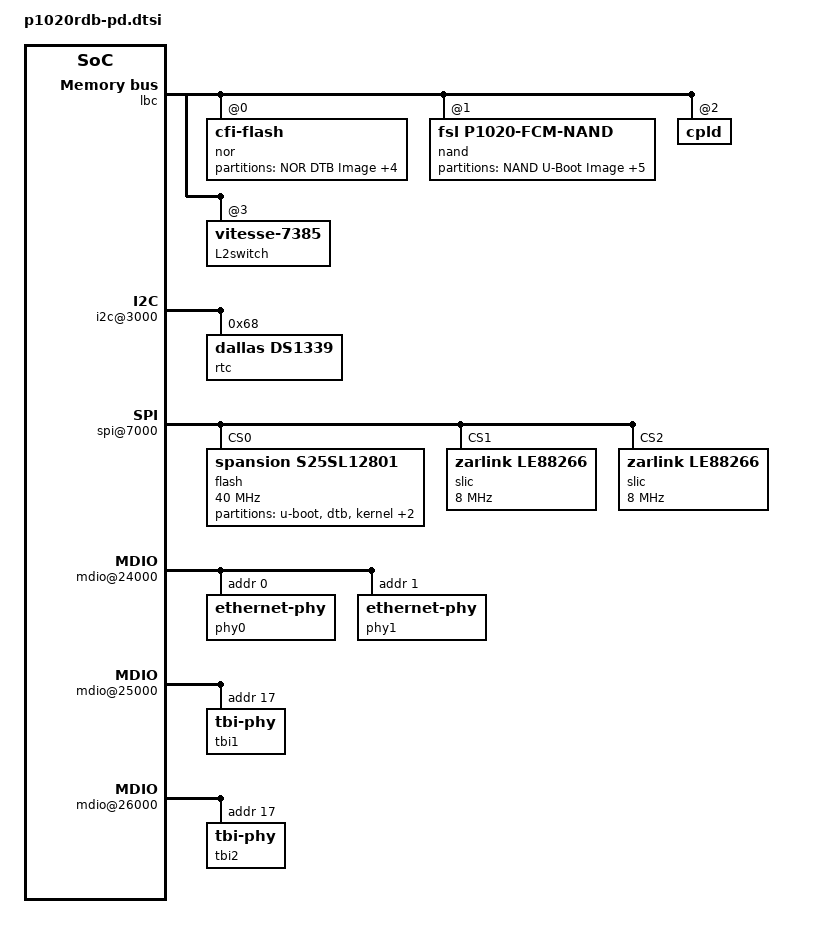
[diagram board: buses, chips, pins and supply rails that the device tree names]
/*
 * P1020RDB-PD Device Tree Source stub (no addresses or top-level ranges)
 *
 * Copyright 2013 Freescale Semiconductor Inc.
 *
 * Redistribution and use in source and binary forms, with or without
 * modification, are permitted provided that the following conditions are met:
 *     * Redistributions of source code must retain the above copyright
 *       notice, this list of conditions and the following disclaimer.
 *     * Redistributions in binary form must reproduce the above copyright
 *       notice, this list of conditions and the following disclaimer in the
 *       documentation and/or other materials provided with the distribution.
 *     * Neither the name of Freescale Semiconductor nor the
 *       names of its contributors may be used to endorse or promote products
 *       derived from this software without specific prior written permission.
 *
 *
 * ALTERNATIVELY, this software may be distributed under the terms of the
 * GNU General Public License ("GPL") as published by the Free Software
 * Foundation, either version 2 of that License or (at your option) any
 * later version.
 *
 * THIS SOFTWARE IS PROVIDED BY Freescale Semiconductor ``AS IS'' AND ANY
 * EXPRESS OR IMPLIED WARRANTIES, INCLUDING, BUT NOT LIMITED TO, THE IMPLIED
 * WARRANTIES OF MERCHANTABILITY AND FITNESS FOR A PARTICULAR PURPOSE ARE
 * DISCLAIMED. IN NO EVENT SHALL Freescale Semiconductor BE LIABLE FOR ANY
 * DIRECT, INDIRECT, INCIDENTAL, SPECIAL, EXEMPLARY, OR CONSEQUENTIAL DAMAGES
 * (INCLUDING, BUT NOT LIMITED TO, PROCUREMENT OF SUBSTITUTE GOODS OR SERVICES;
 * LOSS OF USE, DATA, OR PROFITS; OR BUSINESS INTERRUPTION) HOWEVER CAUSED AND
 * ON ANY THEORY OF LIABILITY, WHETHER IN CONTRACT, STRICT LIABILITY, OR TORT
 * (INCLUDING NEGLIGENCE OR OTHERWISE) ARISING IN ANY WAY OUT OF THE USE OF THIS
 * SOFTWARE, EVEN IF ADVISED OF THE POSSIBILITY OF SUCH DAMAGE.
 */

&lbc {
	nor@0,0 {
		#address-cells = <1>;
		#size-cells = <1>;
		compatible = "cfi-flash";
		reg = <0x0 0x0 0x4000000>;
		bank-width = <2>;
		device-width = <1>;

		partition@0 {
			/* 128KB for DTB Image */
			reg = <0x0 0x00020000>;
			label = "NOR DTB Image";
		};

		partition@20000 {
			/* 3.875 MB for Linux Kernel Image */
			reg = <0x00020000 0x003e0000>;
			label = "NOR Linux Kernel Image";
		};

		partition@400000 {
			/* 58MB for Root file System */
			reg = <0x00400000 0x03a00000>;
			label = "NOR Root File System";
		};

		partition@3e00000 {
			/* This location must not be altered  */
			/* 1M for Vitesse 7385 Switch firmware */
			reg = <0x3e00000 0x00100000>;
			label = "NOR Vitesse-7385 Firmware";
			read-only;
		};

		partition@3f00000 {
			/* This location must not be altered  */
			/* 512KB for u-boot Bootloader Image */
			/* 512KB for u-boot Environment Variables */
			reg = <0x03f00000 0x00100000>;
			label = "NOR U-Boot Image";
			read-only;
		};
	};

	nand@1,0 {
		#address-cells = <1>;
		#size-cells = <1>;
		compatible = "fsl,p1020-fcm-nand",
			     "fsl,elbc-fcm-nand";
		reg = <0x1 0x0 0x40000>;

		partition@0 {
			/* This location must not be altered  */
			/* 1MB for u-boot Bootloader Image */
			reg = <0x0 0x00100000>;
			label = "NAND U-Boot Image";
			read-only;
		};

		partition@100000 {
			/* 1MB for DTB Image */
			reg = <0x00100000 0x00100000>;
			label = "NAND DTB Image";
		};

		partition@200000 {
			/* 4MB for Linux Kernel Image */
			reg = <0x00200000 0x00400000>;
			label = "NAND Linux Kernel Image";
		};

		partition@600000 {
			/* 4MB for Compressed Root file System Image */
			reg = <0x00600000 0x00400000>;
			label = "NAND Compressed RFS Image";
		};

		partition@a00000 {
			/* 22MB for JFFS2 based Root file System */
			reg = <0x00a00000 0x01600000>;
			label = "NAND JFFS2 Root File System";
		};

		partition@2000000 {
			/* 96MB for RAMDISK based Root file System */
			reg = <0x02000000 0x06000000>;
			label = "NAND Writable User area";
		};
	};

	cpld@2,0 {
		#address-cells = <1>;
		#size-cells = <1>;
		compatible = "cpld";
		reg = <0x2 0x0 0x20000>;
		read-only;
	};

	L2switch@3,0 {
		#address-cells = <1>;
		#size-cells = <1>;
		compatible = "vitesse-7385";
		reg = <0x3 0x0 0x20000>;
	};
};

&soc {
	i2c@3000 {
		rtc@68 {
			compatible = "dallas,ds1339";
			reg = <0x68>;
		};
	};

	spi@7000 {
		flash@0 {
			#address-cells = <1>;
			#size-cells = <1>;
			compatible = "spansion,s25sl12801";
			reg = <0>;
			spi-max-frequency = <40000000>; /* input clock */

			partition@u-boot {
				/* 512KB for u-boot Bootloader Image */
				reg = <0x0 0x00080000>;
				label = "u-boot";
				read-only;
			};

			partition@dtb {
				/* 512KB for DTB Image*/
				reg = <0x00080000 0x00080000>;
				label = "dtb";
			};

			partition@kernel {
				/* 4MB for Linux Kernel Image */
				reg = <0x00100000 0x00400000>;
				label = "kernel";
			};

			partition@fs {
				/* 4MB for Compressed RFS Image */
				reg = <0x00500000 0x00400000>;
				label = "file system";
			};

			partition@jffs-fs {
				/* 7MB for JFFS2 based RFS */
				reg = <0x00900000 0x00700000>;
				label = "file system jffs2";
			};
		};
		slic@0 {
			compatible = "zarlink,le88266";
			reg = <1>;
			spi-max-frequency = <8000000>;
		};
		slic@1 {
			compatible = "zarlink,le88266";
			reg = <2>;
			spi-max-frequency = <8000000>;
		};

	};

	mdio@24000 {
		phy0: ethernet-phy@0 {
			interrupts = <3 1 0 0>;
			reg = <0x0>;
		};
		phy1: ethernet-phy@1 {
			interrupts = <2 1 0 0>;
			reg = <0x1>;
		};
	};

	mdio@25000 {
		tbi1: tbi-phy@11 {
			reg = <0x11>;
			device_type = "tbi-phy";
		};
	};

	mdio@26000 {
		tbi2: tbi-phy@11 {
			reg = <0x11>;
			device_type = "tbi-phy";
		};
	};

	enet0: ethernet@b0000 {
		fixed-link = <1 1 1000 0 0>;
		phy-connection-type = "rgmii-id";
	};

	enet1: ethernet@b1000 {
		phy-handle = <&phy0>;
		tbi-handle = <&tbi1>;
		phy-connection-type = "sgmii";
	};

	enet2: ethernet@b2000 {
		phy-handle = <&phy1>;
		phy-connection-type = "rgmii-id";
	};

	usb@22000 {
		phy_type = "ulpi";
	};

	/* USB2 is shared with localbus, so it must be disabled
	   by default. We can't put 'status = "disabled";' here
	   since U-Boot doesn't clear the status property when
	   it enables USB2. OTOH, U-Boot does create a new node
	   when there isn't any. So, just comment it out.
	*/
	usb@23000 {
		status = "disabled";
		phy_type = "ulpi";
	};
};
